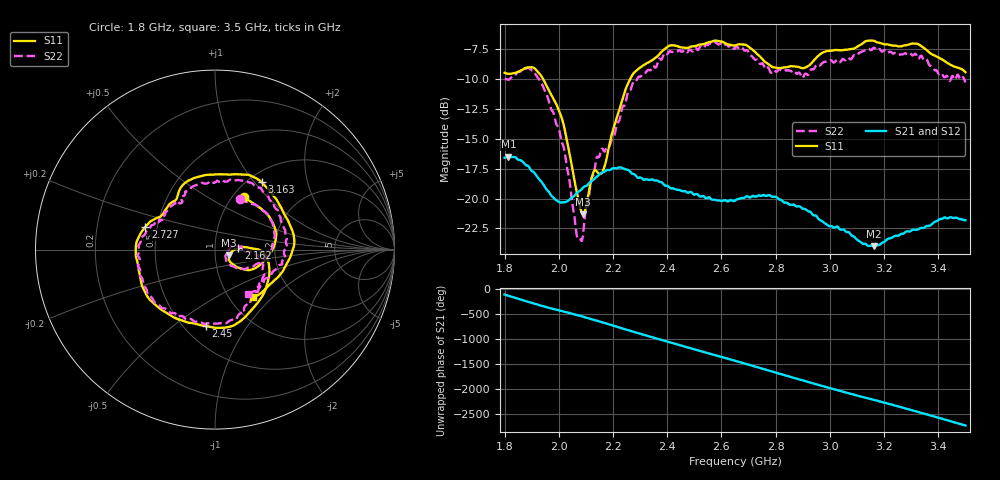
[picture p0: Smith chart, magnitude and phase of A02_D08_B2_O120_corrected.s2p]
! Created with skrf 1.9.0 (http://scikit-rf.org).
# Hz S RI R 50.0
!freq ReS11 ImS11 ReS21 ImS21 ReS12 ImS12 ReS22 ImS22
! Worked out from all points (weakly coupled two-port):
!   1601 points, 1.8 GHz to 3.5 GHz, reference 50 ohm
!   highest |S21| = -16.50 dB at 1.814 GHz (marker M1); lowest = -24.0 dB at 3.163 GHz (marker M2)
!   lowest |S11| = -21.3 dB at 2.09 GHz (marker M3), VSWR 1.19, Z = 58.5 - j3.8 ohm
!   |S11| at or under -10 dB: 1.943 GHz to 2.263 GHz (320.4 MHz wide, 15.2 % of centre)
!   |S22| runs from -23.5 to -6.9 dB; largest |S21 - S12| = 0.0031
!   S11 on the Smith chart (normalised r, x): 1.8 GHz: 1.13, +0.75; 2.162 GHz: 1.30, +0.02; 2.45 GHz: 0.64, -0.66; 2.727 GHz: 0.43, +0.13; 3.163 GHz: 1.15, +1.09; 3.5 GHz: 1.28, -0.76
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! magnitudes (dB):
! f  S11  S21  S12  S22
! 1.8 GHz  -9.5  -16.6  -16.6  -10.0
! 1.814 GHz  -9.6  -16.5  -16.5  -10.1
! 1.888 GHz  -9.0  -17.3  -17.4  -9.1
! 1.941 GHz  -10.0  -18.7  -18.8  -10.6
! 2.013 GHz  -13.4  -20.3  -20.3  -15.4
! 2.066 GHz  -19.4  -19.5  -19.6  -23.0
! 2.084 GHz  -21.1  -19.2  -19.2  -23.5
! 2.09 GHz  -21.3  -19.1  -19.1  -22.8
! 2.128 GHz  -17.8  -18.4  -18.4  -18.0
! 2.162 GHz  -17.7  -17.8  -17.7  -15.9
! 2.195 GHz  -14.6  -17.5  -17.5  -15.0
! 2.26 GHz  -10.1  -17.7  -17.7  -11.0
! 2.367 GHz  -8.0  -18.5  -18.5  -8.4
! 2.45 GHz  -7.3  -19.3  -19.3  -7.7
! 2.65 GHz  -7.2  -20.2  -20.1  -7.4
! 2.727 GHz  -7.8  -19.8  -19.9  -8.4
! 2.798 GHz  -9.0  -19.8  -19.8  -9.3
! 2.934 GHz  -8.6  -21.3  -21.3  -9.2
! 3.163 GHz  -6.8  -24.0  -24.0  -7.4
! 3.217 GHz  -7.1  -23.3  -23.3  -7.8
! 3.325 GHz  -7.1  -22.6  -22.6  -8.3
! 3.5 GHz  -9.4  -21.8  -21.8  -10.3
